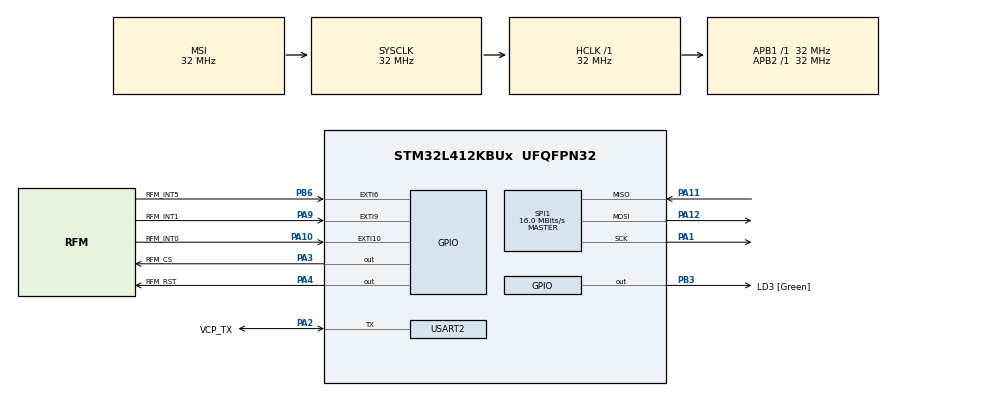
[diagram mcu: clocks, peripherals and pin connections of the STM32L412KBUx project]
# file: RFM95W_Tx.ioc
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Mcu.Family=STM32L4
Mcu.Name=STM32L412KBUx
Mcu.Package=UFQFPN32
NVIC.EXTI15_10_IRQn=true\:0\:0\:false\:false\:true\:true\:true\:true
NVIC.EXTI9_5_IRQn=true\:0\:0\:false\:false\:true\:true\:true\:true
NVIC.PriorityGroup=NVIC_PRIORITYGROUP_4
PA0-CK_IN.Signal=RCC_CK_IN
PA1.Mode=Full_Duplex_Master
PA1.Signal=SPI1_SCK
PA10.GPIO_Label=RFM_INT0
PA10.Signal=GPXTI10
PA11.Mode=Full_Duplex_Master
PA11.Signal=SPI1_MISO
PA12.Mode=Full_Duplex_Master
PA12.Signal=SPI1_MOSI
PA13\ (JTMS/SWDIO).GPIO_Label=SWDIO
PA13\ (JTMS/SWDIO).Signal=SYS_JTMS-SWDIO
PA14\ (JTCK/SWCLK).GPIO_Label=SWCLK
PA14\ (JTCK/SWCLK).Signal=SYS_JTCK-SWCLK
PA15\ (JTDI).GPIO_Label=VCP_RX
PA15\ (JTDI).Signal=USART2_RX
PA2.GPIO_Label=VCP_TX
PA2.Mode=Half_duplex(single_wire_mode)
PA2.Signal=USART2_TX
PA3.GPIO_Label=RFM_CS
PA3.Signal=GPIO_Output
PA4.GPIO_Label=RFM_RST
PA4.Signal=GPIO_Output
PA9.GPIO_Label=RFM_INT1
PA9.Signal=GPXTI9
PB3\ (JTDO/TRACESWO).GPIO_Label=LD3 [Green]
PB3\ (JTDO/TRACESWO).Signal=GPIO_Output
PB6.GPIO_Label=RFM_INT5
PB6.Signal=GPXTI6
PC14-OSC32_IN\ (PC14).Signal=RCC_OSC32_IN
PC15-OSC32_OUT\ (PC15).Signal=RCC_OSC32_OUT
ProjectManager.HeapSize=0x200
ProjectManager.StackSize=0x400
ProjectManager.TargetToolchain=STM32CubeIDE
RCC.ADCFreq_Value=32000000
RCC.AHBFreq_Value=32000000
RCC.APB1Freq_Value=32000000
RCC.APB1TimFreq_Value=32000000
RCC.APB2Freq_Value=32000000
RCC.APB2TimFreq_Value=32000000
RCC.CortexFreq_Value=32000000
RCC.FLatency=FLASH_LATENCY_1
RCC.HCLKFreq_Value=32000000
RCC.HSE_VALUE=8000000
RCC.HSI48_VALUE=48000000
RCC.HSICalibrationValue=64
RCC.HSI_VALUE=16000000
RCC.LSE_VALUE=32768
RCC.MSIClockRange=RCC_MSIRANGE_10
RCC.MSI_VALUE=32000000
RCC.SYSCLKFreq_VALUE=32000000
RCC.USBFreq_Value=32000000
RCC.VCOOutputFreq_Value=256000000
SPI1.CalculateBaudRate=16.0 MBits/s
SPI1.DataSize=SPI_DATASIZE_8BIT
SPI1.Direction=SPI_DIRECTION_2LINES
SPI1.Mode=SPI_MODE_MASTER
SPI1.VirtualType=VM_MASTER
USART2.VirtualMode-Half_duplex(single_wire_mode)=VM_ASYNC
board=NUCLEO-L412KB

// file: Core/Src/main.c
/* USER CODE BEGIN Header */
/**
  ******************************************************************************
  * @file           : main.c
  * @brief          : Main program body
  ******************************************************************************
  * @attention
  *
  * Copyright (c) 2025 STMicroelectronics.
  * All rights reserved.
  *
  * This software is licensed under terms that can be found in the LICENSE file
  * in the root directory of this software component.
  * If no LICENSE file comes with this software, it is provided AS-IS.
  *
  ******************************************************************************
  */
/* USER CODE END Header */
#include "main.h"

/* USER CODE BEGIN Includes */
#include "rfm95.h"
#include <stdio.h>
/* USER CODE END Includes */

SPI_HandleTypeDef hspi1;

UART_HandleTypeDef huart2;

/* USER CODE BEGIN PV */
rfm95_handle_t rfm95_handle = {
		.spi_handle = &hspi1,
		.nss_port = RFM_CS_GPIO_Port,
		.nss_pin = RFM_CS_Pin,
		.nrst_port = RFM_RST_GPIO_Port,
		.nrst_pin = RFM_RST_Pin,
		.device_address = {
			0x00, 0x00, 0x00, 0x00
		},
		.application_session_key = {
			0x00, 0x00, 0x00, 0x00, 0x00, 0x00, 0x00, 0x00, 0x00, 0x00, 0x00, 0x00, 0x00, 0x00, 0x00, 0x00
		},
		.network_session_key = {
			0x00, 0x00, 0x00, 0x00, 0x00, 0x00, 0x00, 0x00, 0x00, 0x00, 0x00, 0x00, 0x00, 0x00, 0x00, 0x00
		},
		.receive_mode = RFM95_RECEIVE_MODE_NONE
};
/* USER CODE END PV */

void SystemClock_Config(void);
static void MX_GPIO_Init(void);
static void MX_SPI1_Init(void);
static void MX_USART2_UART_Init(void);

/* USER CODE BEGIN 0 */
/*Overwrite _write function to allow printf to print to serial consle*/
int _write(int file, char *ptr, int len) {
	HAL_StatusTypeDef hstatus;

	if ( (file == 1) | (file == 2) ){/*Stout=1 or Sterr=2*/
		hstatus = HAL_UART_Transmit(&huart2, (uint8_t *) ptr, len, HAL_MAX_DELAY);
		if (hstatus == HAL_OK)
			return len;
		else
			return -1;
	}
	return -1;
}
/* USER CODE END 0 */

int main(void)
{

  /* MCU Configuration--------------------------------------------------------*/

  /* Reset of all peripherals, Initializes the Flash interface and the Systick. */
  HAL_Init();

  /* Configure the system clock */
  SystemClock_Config();

  /* Initialize all configured peripherals */
  MX_GPIO_Init();
  MX_SPI1_Init();
  MX_USART2_UART_Init();
  /* USER CODE BEGIN 2 */
	if (!rfm95_init(&rfm95_handle)) {
		printf("RFM95 init failed\n");
	}
	printf("RFM95 init success\n");

	uint8_t data_packet[] = {
		0x01, 0x02, 0x03, 0x4
	};
	HAL_GPIO_WritePin(LD3_GPIO_Port, LD3_Pin, GPIO_PIN_RESET);
	if (!rfm95_send_receive_cycle(&rfm95_handle, data_packet, sizeof(data_packet))) {
		printf("RFM95 send failed\n");
		HAL_GPIO_WritePin(LD3_GPIO_Port, LD3_Pin, GPIO_PIN_SET);

	} else {
		printf("RFM95 send success\n");
		HAL_GPIO_WritePin(LD3_GPIO_Port, LD3_Pin, GPIO_PIN_SET);
		HAL_Delay(200);
		HAL_GPIO_WritePin(LD3_GPIO_Port, LD3_Pin, GPIO_PIN_RESET);
	}
  /* USER CODE END 2 */

  /* Infinite loop */
  while (1)
  {

  }
}

void SystemClock_Config(void)
{
  RCC_OscInitTypeDef RCC_OscInitStruct = {0};
  RCC_ClkInitTypeDef RCC_ClkInitStruct = {0};

  /** Configure the main internal regulator output voltage
  */
  if (HAL_PWREx_ControlVoltageScaling(PWR_REGULATOR_VOLTAGE_SCALE1) != HAL_OK)
  {
    Error_Handler();
  }

  /** Initializes the RCC Oscillators according to the specified parameters
  * in the RCC_OscInitTypeDef structure.
  */
  RCC_OscInitStruct.OscillatorType = RCC_OSCILLATORTYPE_MSI;
  RCC_OscInitStruct.MSIState = RCC_MSI_ON;
  RCC_OscInitStruct.MSICalibrationValue = 0;
  RCC_OscInitStruct.MSIClockRange = RCC_MSIRANGE_10;
  RCC_OscInitStruct.PLL.PLLState = RCC_PLL_NONE;
  if (HAL_RCC_OscConfig(&RCC_OscInitStruct) != HAL_OK)
  {
    Error_Handler();
  }

  /** Initializes the CPU, AHB and APB buses clocks
  */
  RCC_ClkInitStruct.ClockType = RCC_CLOCKTYPE_HCLK|RCC_CLOCKTYPE_SYSCLK
                              |RCC_CLOCKTYPE_PCLK1|RCC_CLOCKTYPE_PCLK2;
  RCC_ClkInitStruct.SYSCLKSource = RCC_SYSCLKSOURCE_MSI;
  RCC_ClkInitStruct.AHBCLKDivider = RCC_SYSCLK_DIV1;
  RCC_ClkInitStruct.APB1CLKDivider = RCC_HCLK_DIV1;
  RCC_ClkInitStruct.APB2CLKDivider = RCC_HCLK_DIV1;

  if (HAL_RCC_ClockConfig(&RCC_ClkInitStruct, FLASH_LATENCY_1) != HAL_OK)
  {
    Error_Handler();
  }
}

static void MX_SPI1_Init(void)
{

  /* SPI1 parameter configuration*/
  hspi1.Instance = SPI1;
  hspi1.Init.Mode = SPI_MODE_MASTER;
  hspi1.Init.Direction = SPI_DIRECTION_2LINES;
  hspi1.Init.DataSize = SPI_DATASIZE_8BIT;
  hspi1.Init.CLKPolarity = SPI_POLARITY_LOW;
  hspi1.Init.CLKPhase = SPI_PHASE_1EDGE;
  hspi1.Init.NSS = SPI_NSS_SOFT;
  hspi1.Init.BaudRatePrescaler = SPI_BAUDRATEPRESCALER_2;
  hspi1.Init.FirstBit = SPI_FIRSTBIT_MSB;
  hspi1.Init.TIMode = SPI_TIMODE_DISABLE;
  hspi1.Init.CRCCalculation = SPI_CRCCALCULATION_DISABLE;
  hspi1.Init.CRCPolynomial = 7;
  hspi1.Init.CRCLength = SPI_CRC_LENGTH_DATASIZE;
  hspi1.Init.NSSPMode = SPI_NSS_PULSE_ENABLE;
  if (HAL_SPI_Init(&hspi1) != HAL_OK)
  {
    Error_Handler();
  }

}

static void MX_USART2_UART_Init(void)
{

  huart2.Instance = USART2;
  huart2.Init.BaudRate = 115200;
  huart2.Init.WordLength = UART_WORDLENGTH_8B;
  huart2.Init.StopBits = UART_STOPBITS_1;
  huart2.Init.Parity = UART_PARITY_NONE;
  huart2.Init.Mode = UART_MODE_TX_RX;
  huart2.Init.HwFlowCtl = UART_HWCONTROL_NONE;
  huart2.Init.OverSampling = UART_OVERSAMPLING_16;
  huart2.Init.OneBitSampling = UART_ONE_BIT_SAMPLE_DISABLE;
  huart2.AdvancedInit.AdvFeatureInit = UART_ADVFEATURE_NO_INIT;
  if (HAL_HalfDuplex_Init(&huart2) != HAL_OK)
  {
    Error_Handler();
  }

}

static void MX_GPIO_Init(void)
{
  GPIO_InitTypeDef GPIO_InitStruct = {0};

  /* GPIO Ports Clock Enable */
  __HAL_RCC_GPIOC_CLK_ENABLE();
  __HAL_RCC_GPIOA_CLK_ENABLE();
  __HAL_RCC_GPIOB_CLK_ENABLE();

  /*Configure GPIO pin Output Level */
  HAL_GPIO_WritePin(GPIOA, RFM_CS_Pin|RFM_RST_Pin, GPIO_PIN_RESET);

  /*Configure GPIO pin Output Level */
  HAL_GPIO_WritePin(LD3_GPIO_Port, LD3_Pin, GPIO_PIN_RESET);

  /*Configure GPIO pins : RFM_CS_Pin RFM_RST_Pin */
  GPIO_InitStruct.Pin = RFM_CS_Pin|RFM_RST_Pin;
  GPIO_InitStruct.Mode = GPIO_MODE_OUTPUT_PP;
  GPIO_InitStruct.Pull = GPIO_NOPULL;
  GPIO_InitStruct.Speed = GPIO_SPEED_FREQ_LOW;
  HAL_GPIO_Init(GPIOA, &GPIO_InitStruct);

  /*Configure GPIO pins : RFM_INT1_Pin RFM_INT0_Pin */
  GPIO_InitStruct.Pin = RFM_INT1_Pin|RFM_INT0_Pin;
  GPIO_InitStruct.Mode = GPIO_MODE_IT_RISING;
  GPIO_InitStruct.Pull = GPIO_NOPULL;
  HAL_GPIO_Init(GPIOA, &GPIO_InitStruct);

  /*Configure GPIO pin : LD3_Pin */
  GPIO_InitStruct.Pin = LD3_Pin;
  GPIO_InitStruct.Mode = GPIO_MODE_OUTPUT_PP;
  GPIO_InitStruct.Pull = GPIO_NOPULL;
  GPIO_InitStruct.Speed = GPIO_SPEED_FREQ_LOW;
  HAL_GPIO_Init(LD3_GPIO_Port, &GPIO_InitStruct);

  /*Configure GPIO pin : RFM_INT5_Pin */
  GPIO_InitStruct.Pin = RFM_INT5_Pin;
  GPIO_InitStruct.Mode = GPIO_MODE_IT_RISING;
  GPIO_InitStruct.Pull = GPIO_NOPULL;
  HAL_GPIO_Init(RFM_INT5_GPIO_Port, &GPIO_InitStruct);

  /* EXTI interrupt init*/
  HAL_NVIC_SetPriority(EXTI9_5_IRQn, 0, 0);
  HAL_NVIC_EnableIRQ(EXTI9_5_IRQn);

  HAL_NVIC_SetPriority(EXTI15_10_IRQn, 0, 0);
  HAL_NVIC_EnableIRQ(EXTI15_10_IRQn);

}

/* USER CODE BEGIN 4 */
void HAL_GPIO_EXTI_Callback(uint16_t GPIO_Pin)
{
    if (GPIO_Pin == RFM_INT0_Pin) {
        rfm95_on_interrupt(&rfm95_handle, RFM95_INTERRUPT_DIO0);
    } else if (GPIO_Pin == RFM_INT1_Pin) {
        rfm95_on_interrupt(&rfm95_handle, RFM95_INTERRUPT_DIO1);
    } else if (GPIO_Pin == RFM_INT5_Pin) {
        rfm95_on_interrupt(&rfm95_handle, RFM95_INTERRUPT_DIO5);
    }
}
/* USER CODE END 4 */

void Error_Handler(void)
{
  __disable_irq();
  while (1)
  {
  }
}
